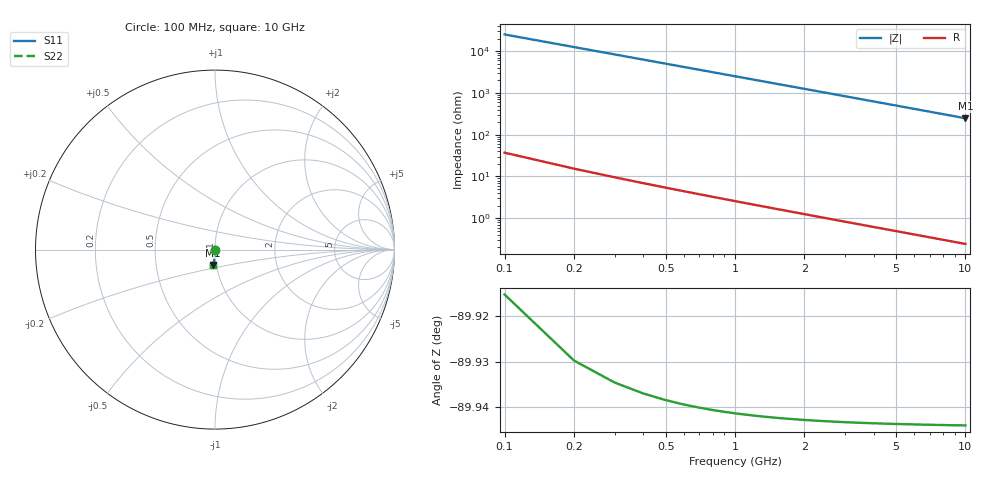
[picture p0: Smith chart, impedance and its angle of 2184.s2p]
# Hz S RI R 50.00
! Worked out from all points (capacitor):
!   100 points, 100 MHz to 10 GHz, reference 50 ohm
!   read as one part in shunt: C = 63.3 fF near 100 MHz
!   lowest |Z| = 248 ohm at 10 GHz (marker M1)
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1e8  4.1e-05 -0.000861  1 -0.00113  1 -0.00113  4.1e-05 -0.000861
2e8  3.74e-05 -0.00172  0.9999 -0.00225  0.9999 -0.00225  3.74e-05 -0.00172
3e8  3.18e-05 -0.00258  0.9999 -0.00338  0.9999 -0.00338  3.18e-05 -0.00258
4e8  2.42e-05 -0.00344  0.9999 -0.00451  0.9999 -0.00451  2.42e-05 -0.00344
5e8  1.46e-05 -0.0043  0.9999 -0.00564  0.9999 -0.00564  1.46e-05 -0.0043
6e8  3.13e-06 -0.00517  0.9999 -0.00677  0.9999 -0.00677  3.13e-06 -0.00517
7e8  -1.03e-05 -0.00603  0.9999 -0.00789  0.9999 -0.00789  -1.03e-05 -0.00603
8e8  -2.58e-05 -0.00689  0.9999 -0.00902  0.9999 -0.00902  -2.58e-05 -0.00689
9e8  -4.31e-05 -0.00775  0.9999 -0.0102  0.9999 -0.0102  -4.31e-05 -0.00775
1.1e9  -8.38e-05 -0.00947  0.9998 -0.0124  0.9998 -0.0124  -8.38e-05 -0.00947
1.4e9  -0.000159 -0.0121  0.9997 -0.0158  0.9997 -0.0158  -0.000159 -0.0121
1.8e9  -0.000288 -0.0155  0.9996 -0.0203  0.9996 -0.0203  -0.000288 -0.0155
2.1e9  -0.000404 -0.0181  0.9995 -0.0237  0.9995 -0.0237  -0.000404 -0.0181
2.5e9  -0.000588 -0.0216  0.9993 -0.0282  0.9993 -0.0282  -0.000588 -0.0216
2.9e9  -0.000803 -0.025  0.9991 -0.0328  0.9991 -0.0328  -0.000803 -0.025
3.4e9  -0.00112 -0.0293  0.9987 -0.0384  0.9987 -0.0384  -0.00112 -0.0293
4.2e9  -0.00172 -0.0363  0.9981 -0.0475  0.9981 -0.0475  -0.00172 -0.0363
5.1e9  -0.00255 -0.0441  0.9973 -0.0577  0.9973 -0.0577  -0.00255 -0.0441
5.9e9  -0.00343 -0.051  0.9963 -0.0668  0.9963 -0.0668  -0.00343 -0.051
6.7e9  -0.00444 -0.0579  0.9953 -0.0759  0.9953 -0.0759  -0.00444 -0.0579
8.4e9  -0.007 -0.0726  0.9926 -0.0953  0.9926 -0.0953  -0.007 -0.0726
1e10  -0.00995 -0.0864  0.9896 -0.1134  0.9896 -0.1134  -0.00995 -0.0864
